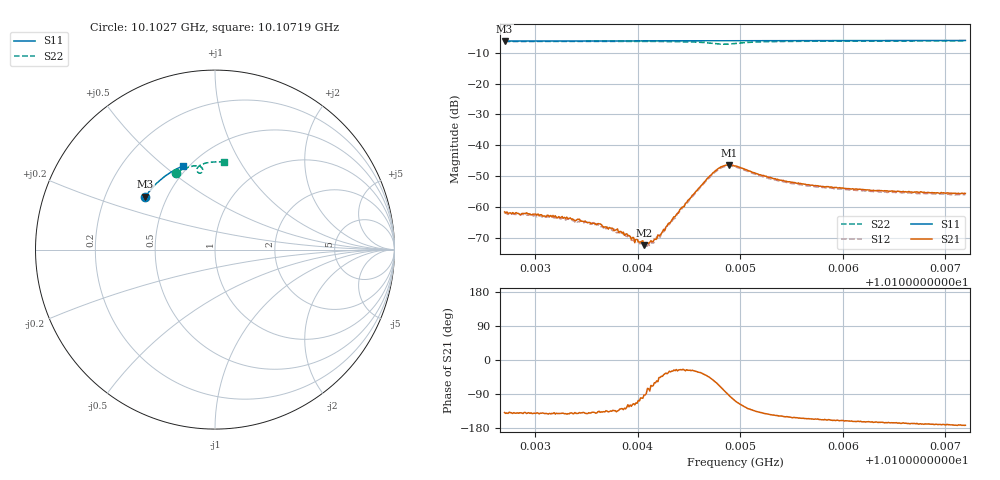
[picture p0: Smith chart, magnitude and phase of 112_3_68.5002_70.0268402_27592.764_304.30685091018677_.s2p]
#  HZ  S  RI  R  50.00
! Rohde & Schwarz Vector Network Analyzer
! Rohde-Schwarz,ZNB20-2Port,1311601062101988,3.16
! Created: UTC 3/20/2024, 4:53:37 PM
! freq[Hz]  re:S11  im:S11  re:S21  im:S21  re:S12  im:S12  re:S22  im:S22
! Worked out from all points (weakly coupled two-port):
!   401 points, 10.1027 GHz to 10.10719 GHz, reference 50 ohm
!   highest |S21| = -46.37 dB at 10.10489 GHz (marker M1); lowest = -72.3 dB at 10.10406 GHz (marker M2)
!   lowest |S11| = -6.2 dB at 10.1027 GHz (marker M3), VSWR 2.90, Z = 18.9 + j14.6 ohm
!   |S11| at or under -10 dB: nowhere
!   |S22| runs from -7.3 to -6.2 dB; largest |S21 - S12| = 0.00048
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1.0102702e10  -0.3882 0.2948  -0.000624 -0.00055  -0.000545 -0.000558  -0.2156 0.4287
1.0103174e10  -0.3712 0.318  -0.000567 -0.000456  -0.000493 -0.000467  -0.1876 0.443
1.0103455e10  -0.3606 0.3314  -0.000444 -0.000384  -0.000413 -0.000411  -0.1702 0.4507
1.0103634e10  -0.3533 0.3396  -0.000396 -0.000356  -0.00033 -0.000337  -0.1585 0.4551
1.0103724e10  -0.3498 0.3437  -0.000335 -0.000323  -0.000281 -0.00035  -0.1526 0.4574
1.0103859e10  -0.3443 0.3498  -0.000257 -0.000296  -0.00018 -0.000315  -0.1432 0.4604
1.010396e10  -0.3401 0.3542  -0.000137 -0.000288  -0.000136 -0.000248  -0.136 0.4624
1.0104061e10  -0.3358 0.3588  -1.09e-05 -0.000242  1.46e-05 -0.000241  -0.1285 0.4645
1.0104084e10  -0.3348 0.3597  6.63e-06 -0.000263  3.82e-05 -0.000229  -0.1268 0.4648
1.0104106e10  -0.334 0.3607  6.16e-05 -0.000247  9.75e-05 -0.000228  -0.1252 0.4651
1.010414e10  -0.3324 0.362  9.86e-05 -0.000254  0.000101 -0.000254  -0.1224 0.4658
1.0104207e10  -0.3294 0.3649  0.000236 -0.000249  0.000247 -0.000245  -0.117 0.4664
1.0104353e10  -0.3231 0.3711  0.000622 -0.000307  0.000592 -0.000252  -0.104 0.4677
1.0104454e10  -0.3186 0.3753  0.000911 -0.000455  0.000993 -0.000369  -0.0938 0.4669
1.0104701e10  -0.3074 0.3853  0.0022 -0.00227  0.00224 -0.00199  -0.0689 0.4478
1.0104802e10  -0.3027 0.3891  0.00152 -0.00409  0.00183 -0.00377  -0.0737 0.43
1.0104892e10  -0.2987 0.3926  -0.000324 -0.00479  4.42e-05 -0.00461  -0.0908 0.4274
1.0104948e10  -0.2962 0.3946  -0.00139 -0.0044  -0.000961 -0.00438  -0.0984 0.4344
1.0105297e10  -0.2797 0.4079  -0.00245 -0.00174  -0.00215 -0.00187  -0.0821 0.4706
1.0105701e10  -0.2597 0.422  -0.00206 -0.000928  -0.0019 -0.00105  -0.0507 0.482
1.0106454e10  -0.2207 0.4456  -0.00175 -0.000453  -0.00162 -0.000581  0.00149 0.4887
1.0107195e10  -0.1802 0.4651  -0.00164 -0.000221  -0.00153 -0.000366  0.0504 0.4882
